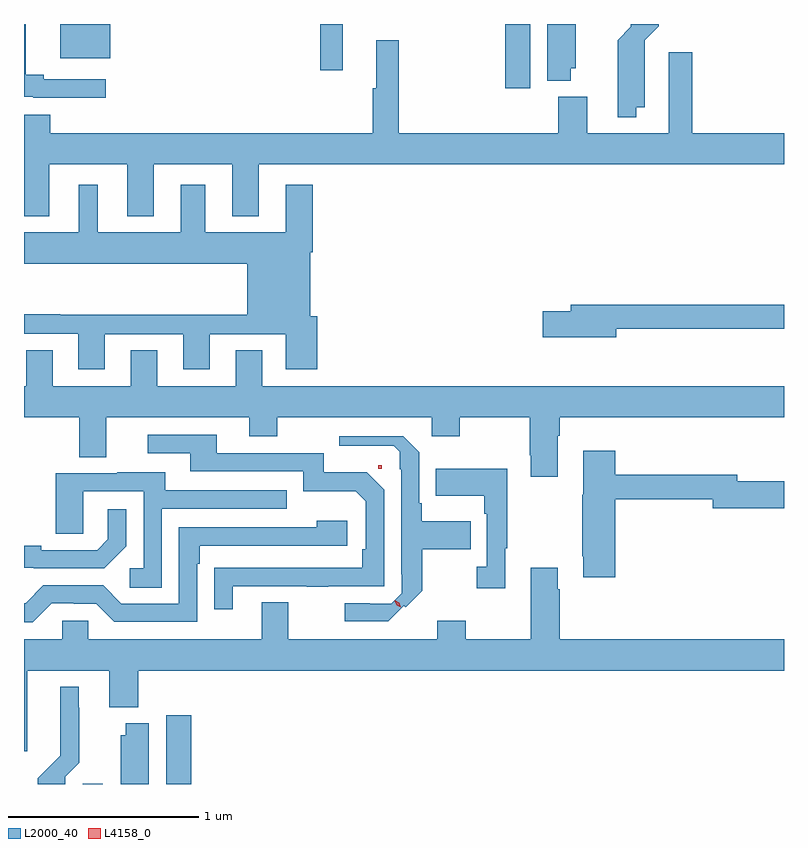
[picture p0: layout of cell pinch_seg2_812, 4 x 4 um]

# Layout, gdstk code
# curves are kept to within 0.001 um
import gdstk
lib = gdstk.Library(unit=1e-6, precision=1e-09)
def R(c, l, rs):  # rectangles x0, y0, x1, y1
    for r in rs: c.add(gdstk.rectangle(r[:2], r[2:], *l))
def P(c, l, *ps):  # polygons
    for p in ps: c.add(gdstk.Polygon(p, *l))
L2000_40 = (2000, 40)
L4158_0 = (4158, 0)

pinch_seg2_812 = lib.new_cell('pinch_seg2_812')
R(pinch_seg2_812, L2000_40, [(732.569,623.063,732.673,623.065), (733.007,623.063,733.139,623.425), (734.792,626.724,734.923,627.063), (733.819,626.82,733.937,627.063), (732.449,626.882,732.712,627.063)])
P(pinch_seg2_812, L2000_40, [(735.136,626.829),(735.163,626.829),(735.163,627.063),(735.014,627.063),(735.014,626.765),(735.136,626.765)],
  [(735.481,626.624),(735.526,626.624),(735.527,626.978),(735.599,627.05),(735.599,627.063),(735.453,627.063),(735.453,627.048),(735.383,626.978),(735.384,626.573),(735.481,626.573)],
  [(732.688,626.772),(732.364,626.772),(732.364,626.795),(732.269,626.795),(732.269,627.063),(732.259,627.063),(732.259,626.679),(732.307,626.679),(732.307,626.675),(732.688,626.675)],
  [(732.391,626.324),(732.803,626.324),(732.803,626.051),(732.943,626.051),(732.943,626.324),(733.355,626.324),(733.355,626.051),(733.495,626.051),(733.495,626.324),(736.259,626.324),(736.259,626.488),(735.776,626.488),(735.776,626.914),(735.653,626.914),(735.653,626.488),(735.223,626.488),(735.223,626.68),(735.071,626.68),(735.071,626.488),(734.231,626.488),(734.231,626.977),(734.114,626.977),(734.114,626.724),(734.095,626.724),(734.095,626.488),(732.398,626.488),(732.398,626.586),(732.259,626.586),(732.259,626.051),(732.391,626.051)],
  [(732.685,625.431),(733.097,625.431),(733.097,625.245),(733.237,625.245),(733.237,625.431),(733.637,625.431),(733.637,625.245),(733.802,625.245),(733.802,625.524),(733.765,625.524),(733.765,625.862),(733.778,625.862),(733.778,626.218),(733.637,626.218),(733.637,625.966),(733.213,625.966),(733.213,626.218),(733.085,626.218),(733.085,625.966),(732.646,625.966),(732.646,626.218),(732.548,626.218),(732.548,625.966),(732.259,625.966),(732.259,625.802),(733.433,625.802),(733.433,625.532),(732.449,625.532),(732.449,625.535),(732.259,625.535),(732.259,625.434),(732.545,625.434),(732.545,625.245),(732.685,625.245)],
  [(735.376,625.458),(736.259,625.458),(736.259,625.586),(735.137,625.586),(735.137,625.55),(734.988,625.55),(734.988,625.415),(735.376,625.415)],
  [(735.067,624.896),(735.08,624.896),(735.08,624.992),(736.259,624.992),(736.259,625.156),(733.513,625.156),(733.513,625.346),(733.373,625.346),(733.373,625.156),(732.961,625.156),(732.961,625.346),(732.821,625.346),(732.821,625.156),(732.409,625.156),(732.409,625.346),(732.27,625.346),(732.27,625.156),(732.259,625.156),(732.259,624.992),(732.551,624.992),(732.551,624.784),(732.691,624.784),(732.691,624.992),(733.445,624.992),(733.445,624.893),(733.593,624.893),(733.593,624.992),(734.406,624.992),(734.406,624.893),(734.553,624.893),(734.553,624.992),(734.92,624.992),(734.92,624.793),(734.927,624.793),(734.927,624.681),(735.067,624.681)],
  [(733.357,624.105),(733.747,624.105),(733.747,624.1),(733.859,624.1),(733.859,624.105),(734.154,624.105),(734.154,624.612),(734.063,624.703),(733.837,624.703),(733.837,624.804),(733.273,624.804),(733.273,624.9),(732.909,624.9),(732.909,624.804),(733.133,624.804),(733.133,624.708),(733.728,624.708),(733.728,624.605),(734.005,624.605),(734.058,624.552),(734.058,624.298),(734.038,624.298),(734.038,624.201),(733.261,624.2),(733.261,623.982),(733.357,623.982)],
  [(734.258,624.001),(734.268,623.992),(734.355,624.079),(734.355,624.298),(734.609,624.298),(734.609,624.445),(734.353,624.445),(734.353,624.541),(734.34,624.541),(734.34,624.81),(734.256,624.894),(733.917,624.894),(733.917,624.842),(734.206,624.842),(734.236,624.813),(734.236,624.72),(734.244,624.72),(734.244,624.166),(734.247,624.166),(734.247,624.066),(734.193,624.012),(734.079,624.012),(734.079,624.015),(733.947,624.015),(733.947,623.919),(734.176,623.919)],
  [(735.371,624.562),(735.884,624.562),(735.884,624.515),(736.259,624.515),(736.259,624.657),(736.012,624.657),(736.012,624.691),(735.371,624.691),(735.371,624.817),(735.203,624.817),(735.203,624.585),(735.196,624.585),(735.196,624.262),(735.203,624.262),(735.203,624.15),(735.371,624.15)],
  [(734.791,624.305),(734.803,624.305),(734.803,624.721),(734.425,624.721),(734.425,624.581),(734.682,624.581),(734.682,624.485),(734.694,624.485),(734.694,624.206),(734.643,624.206),(734.643,624.093),(734.791,624.093)],
  [(732.984,624.513),(733.643,624.513),(733.643,624.609),(733.003,624.609),(733.003,624.703),(732.749,624.703),(732.749,624.699),(732.425,624.699),(732.425,624.379),(732.57,624.379),(732.57,624.603),(732.888,624.603),(732.888,624.198),(732.816,624.198),(732.816,624.097),(732.984,624.097)],
  [(732.798,624.314),(732.798,624.508),(732.701,624.508),(732.701,624.351),(732.644,624.294),(732.349,624.294),(732.349,624.317),(732.259,624.317),(732.259,624.201),(732.31,624.201),(732.31,624.198),(732.682,624.198)],
  [(732.405,624.015),(732.521,624.015),(732.521,624.012),(732.639,624.012),(732.735,623.916),(733.17,623.916),(733.17,624.221),(733.183,624.221),(733.183,624.318),(733.96,624.318),(733.96,624.448),(733.799,624.448),(733.799,624.414),(733.074,624.414),(733.074,624.012),(732.771,624.012),(732.675,624.108),(732.36,624.108),(732.267,624.015),(732.259,624.015),(732.259,623.915),(732.305,623.915)],
  [(732.277,623.66),(732.707,623.66),(732.707,623.468),(732.86,623.468),(732.86,623.66),(736.259,623.66),(736.259,623.824),(735.08,623.824),(735.08,624.089),(735.067,624.089),(735.067,624.202),(734.927,624.202),(734.927,623.824),(734.583,623.824),(734.583,623.923),(734.435,623.923),(734.435,623.824),(733.651,623.824),(733.651,624.019),(733.511,624.019),(733.511,623.824),(732.597,623.824),(732.597,623.922),(732.459,623.922),(732.459,623.824),(732.259,623.824),(732.259,623.235),(732.277,623.235)],
  [(732.477,623.1),(732.551,623.174),(732.551,623.465),(732.547,623.465),(732.547,623.575),(732.449,623.575),(732.449,623.314),(732.45,623.314),(732.45,623.212),(732.332,623.094),(732.332,623.063),(732.477,623.063)],
  [(732.916,623.383),(732.794,623.383),(732.794,623.319),(732.767,623.319),(732.767,623.063),(732.916,623.063)])
R(pinch_seg2_812, L4158_0, [(734.123,624.721,734.143,624.741)])
P(pinch_seg2_812, L4158_0, [(734.243,623.992),(734.22,624.004),(734.211,624.028),(734.211,624.029),(734.211,624.029),(734.235,624.017),(734.243,623.992),(734.243,623.992)])

lib.write_gds('pinch_seg2_812.gds')
